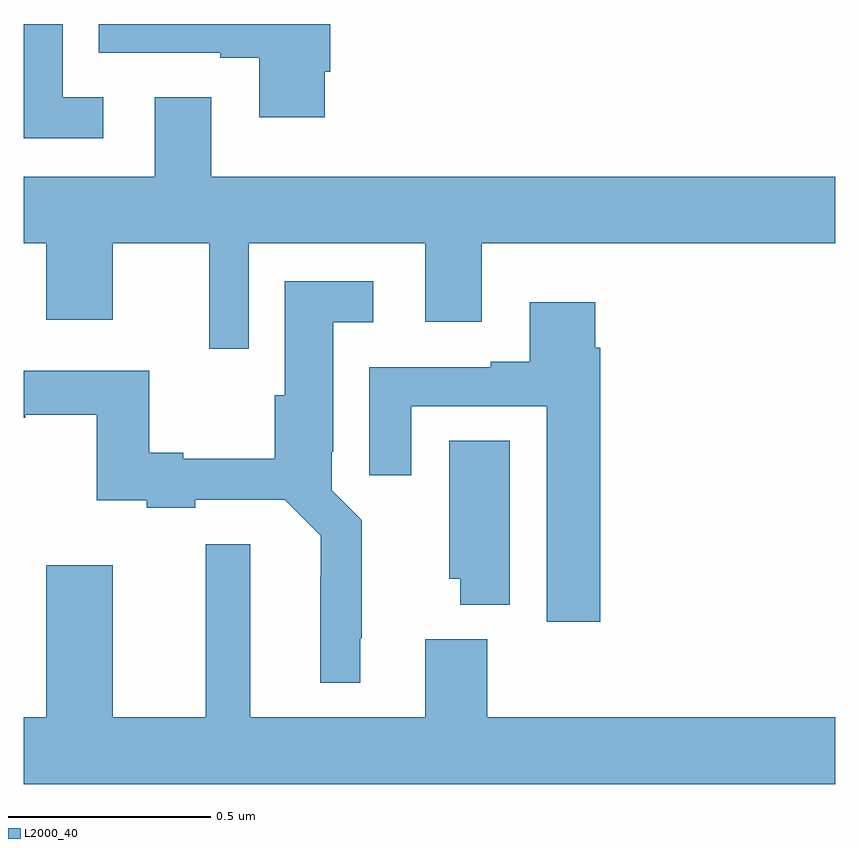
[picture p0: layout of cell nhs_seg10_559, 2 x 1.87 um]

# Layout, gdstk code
import gdstk
lib = gdstk.Library(unit=1e-6, precision=1e-09)
def P(c, l, *ps):  # polygons
    for p in ps: c.add(gdstk.Polygon(p, *l))
L2000_40 = (2000, 40)

nhs_seg10_559 = lib.new_cell('nhs_seg10_559')
P(nhs_seg10_559, L2000_40, [(117.742,1323.382),(117.755,1323.382),(117.755,1323.5),(117.185,1323.5),(117.185,1323.429),(117.485,1323.429),(117.485,1323.417),(117.581,1323.417),(117.581,1323.27),(117.742,1323.27)],
  [(117.196,1323.319),(117.097,1323.319),(117.097,1323.5),(117,1323.5),(117,1323.218),(117.196,1323.218)],
  [(117.555,1322.96),(117.989,1322.96),(117.989,1322.766),(118.129,1322.766),(118.129,1322.96),(119,1322.96),(119,1323.124),(117.463,1323.124),(117.463,1323.319),(117.323,1323.319),(117.323,1323.124),(117,1323.124),(117,1322.96),(117.056,1322.96),(117.056,1322.772),(117.22,1322.772),(117.22,1322.96),(117.457,1322.96),(117.457,1322.7),(117.555,1322.7)],
  [(117.829,1321.987),(117.833,1321.987),(117.833,1322.278),(117.759,1322.352),(117.759,1322.446),(117.763,1322.446),(117.763,1322.765),(117.862,1322.765),(117.862,1322.866),(117.644,1322.866),(117.644,1322.586),(117.619,1322.586),(117.619,1322.429),(117.394,1322.429),(117.394,1322.444),(117.31,1322.444),(117.31,1322.646),(117,1322.646),(117,1322.53),(117.004,1322.53),(117.004,1322.538),(117.181,1322.538),(117.181,1322.327),(117.304,1322.327),(117.304,1322.308),(117.423,1322.308),(117.423,1322.328),(117.644,1322.328),(117.732,1322.24),(117.732,1322.138),(117.731,1322.138),(117.731,1321.877),(117.829,1321.877)],
  [(118.421,1322.702),(118.408,1322.702),(118.408,1322.815),(118.247,1322.815),(118.247,1322.668),(118.151,1322.668),(118.151,1322.655),(117.851,1322.655),(117.851,1322.388),(117.955,1322.388),(117.955,1322.559),(118.289,1322.559),(118.289,1322.028),(118.421,1322.028)],
  [(118.198,1322.474),(118.049,1322.474),(118.049,1322.133),(118.076,1322.133),(118.076,1322.069),(118.198,1322.069)],
  [(119,1321.792),(118.142,1321.792),(118.142,1321.984),(117.989,1321.984),(117.989,1321.792),(117.559,1321.792),(117.559,1322.218),(117.449,1322.218),(117.449,1321.792),(117.22,1321.792),(117.22,1322.167),(117.056,1322.167),(117.056,1321.792),(117,1321.792),(117,1321.628),(119,1321.628)])

lib.write_gds('nhs_seg10_559.gds')
